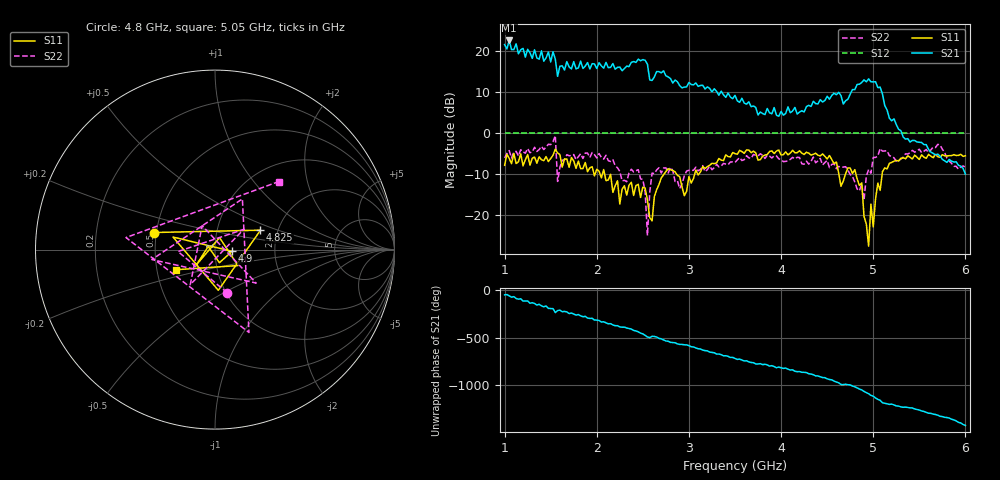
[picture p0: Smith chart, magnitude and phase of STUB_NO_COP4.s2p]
!Keysight Technologies N9916A: A.08.01
!Date: Thursday, 22 June 2023 19:07:02
!Timezone: (GMT+01:00) Amsterdam, Berlin, Bern, Rome, Stockholm, Vienna
!Model: N9916A
!Serial: MY53104702
!GPS Latitude:
!GPS Longitude:
!GPS TimeStamp: 0001-01-01 00:00:00Z
!GPS Seconds Since Last Read: 0
!CHECKSUM:0050189966
!Correction: S11(Rdy)S21(ON U)S12(OFF)S22(Rdy)
!S2P File: Measurements:S11,S21,S12,S22:
# Hz S DB R 50
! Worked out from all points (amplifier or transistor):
!   201 points, 1 GHz to 6 GHz, reference 50 ohm
!   highest |S21| = 22.5 dB at 1.05 GHz (marker M1)
!   |S21| within 3 dB of that: start of sweep to 1.147 GHz (the widest 1 of 7)
!   unconditionally stable (mu >= 1): 5.768737 GHz to 5.782488 GHz; 5.897 GHz to 5.932 GHz; 5.958 GHz to end of sweep (the widest 3 of 4)
!   at 1.825 GHz: K = 3.81, MSG = 8.7 dB, |S12| = 0.0 dB
!   at 3.5 GHz: K = 1.73, MSG = 4.5 dB, |S12| = 0.0 dB
!   at 6 GHz: K = 1.18, MAG = -7.6 dB, |S12| = 0.0 dB
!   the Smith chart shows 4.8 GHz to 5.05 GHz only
!   S11 on the Smith chart (normalised r, x): 4.8 GHz: 0.48, +0.11; 4.825 GHz: 1.62, +0.38; 4.9 GHz: 1.21, -0.02; 5.05 GHz: 0.63, -0.15
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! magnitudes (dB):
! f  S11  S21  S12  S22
! 1 GHz  -7.9  21.5  0.0  -6.1
! 1.05 GHz  -6.3  22.5  0.0  -4.4
! 1.55 GHz  -4.0  17.9  0.0  -0.7
! 1.575 GHz  -4.9  13.7  0.0  -11.9
! 1.85 GHz  -8.7  15.6  0.0  -6.3
! 2.25 GHz  -17.4  16.0  0.0  -9.4
! 2.45 GHz  -12.6  17.9  0.0  -9.0
! 2.525 GHz  -13.5  17.6  0.0  -14.4
! 2.55 GHz  -16.4  16.7  0.0  -25.0
! 2.6 GHz  -21.5  12.7  0.0  -9.8
! 2.675 GHz  -12.7  14.9  0.0  -8.5
! 3.5 GHz  -5.1  9.1  0.0  -7.3
! 4.35 GHz  -5.3  7.7  0.0  -5.9
! 4.8 GHz  -9.0  10.5  0.0  -12.0
! 4.825 GHz  -11.2  11.8  0.0  -13.7
! 4.9 GHz  -20.4  12.9  0.0  -16.4
! 4.95 GHz  -27.6  13.1  0.0  -9.0
! 4.975 GHz  -17.4  12.4  0.0  -9.9
! 5 GHz  -22.9  12.4  0.0  -6.0
! 5.05 GHz  -12.3  11.0  0.0  -5.7
! 5.175 GHz  -7.4  3.5  0.0  -5.6
! 6 GHz  -5.6  -10.1  0.0  -8.4
